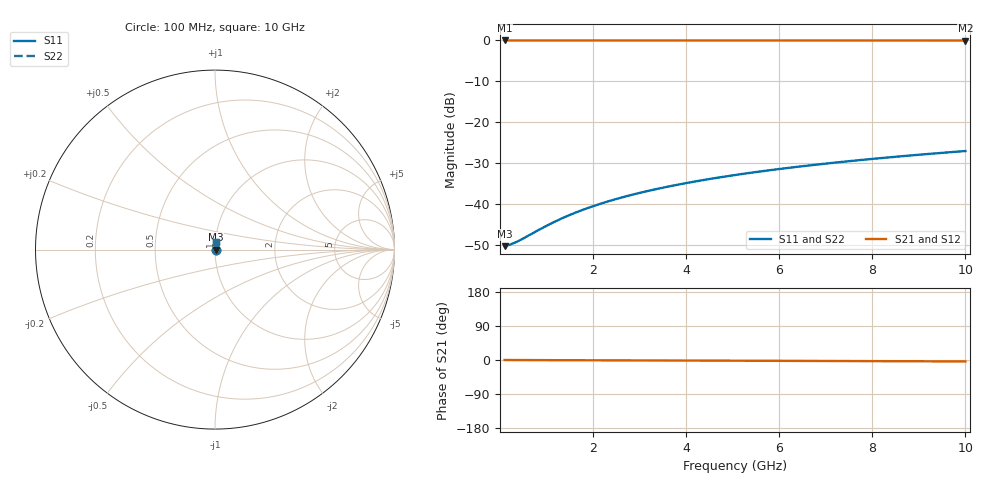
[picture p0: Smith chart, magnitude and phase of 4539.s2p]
# Hz S RI R 50.00
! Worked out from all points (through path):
!   100 points, 100 MHz to 10 GHz, reference 50 ohm
!   highest |S21| = -0.03 dB at 100 MHz (marker M1); lowest = 0.0 dB at 10 GHz (marker M2)
!   lowest |S11| = -50.3 dB at 100 MHz (marker M3), VSWR 1.01, Z = 50.3 + j0.0444 ohm
!   |S11| at or under -10 dB: start of sweep to end of sweep
!   |S22| runs from -50.3 to -27.1 dB; largest |S21 - S12| = 0
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1e8  0.00302 0.000441  0.997 -0.000649  0.997 -0.000649  0.00302 0.000441
2e8  0.00304 0.000882  0.997 -0.0013  0.997 -0.0013  0.00304 0.000882
3e8  0.00306 0.00132  0.9969 -0.00195  0.9969 -0.00195  0.00306 0.00132
4e8  0.00307 0.00176  0.9969 -0.0026  0.9969 -0.0026  0.00307 0.00176
1e9  0.00314 0.00441  0.9969 -0.00649  0.9969 -0.00649  0.00314 0.00441
1.3e9  0.00318 0.00573  0.9968 -0.00844  0.9968 -0.00844  0.00318 0.00573
1.5e9  0.0032 0.00661  0.9968 -0.00974  0.9968 -0.00974  0.0032 0.00661
1.8e9  0.00325 0.00793  0.9967 -0.0117  0.9967 -0.0117  0.00325 0.00793
2.1e9  0.00329 0.00926  0.9967 -0.0136  0.9967 -0.0136  0.00329 0.00926
2.5e9  0.00336 0.011  0.9966 -0.0162  0.9966 -0.0162  0.00336 0.011
2.9e9  0.00343 0.0128  0.9965 -0.0188  0.9965 -0.0188  0.00343 0.0128
3.4e9  0.00354 0.015  0.9964 -0.0221  0.9964 -0.0221  0.00354 0.015
3.8e9  0.00363 0.0167  0.9963 -0.0247  0.9963 -0.0247  0.00363 0.0167
4.2e9  0.00373 0.0185  0.9962 -0.0273  0.9962 -0.0273  0.00373 0.0185
4.6e9  0.00384 0.0203  0.9961 -0.0299  0.9961 -0.0299  0.00384 0.0203
5.1e9  0.004 0.0225  0.9959 -0.0331  0.9959 -0.0331  0.004 0.0225
5.9e9  0.00427 0.026  0.9956 -0.0383  0.9956 -0.0383  0.00427 0.026
6.7e9  0.00457 0.0295  0.9953 -0.0435  0.9953 -0.0435  0.00457 0.0295
7.5e9  0.00492 0.033  0.9949 -0.0487  0.9949 -0.0487  0.00492 0.033
8.4e9  0.00535 0.037  0.9945 -0.0545  0.9945 -0.0545  0.00535 0.037
9.2e9  0.00577 0.0405  0.994 -0.0597  0.994 -0.0597  0.00577 0.0405
1e10  0.00623 0.044  0.9935 -0.0648  0.9935 -0.0648  0.00623 0.044
